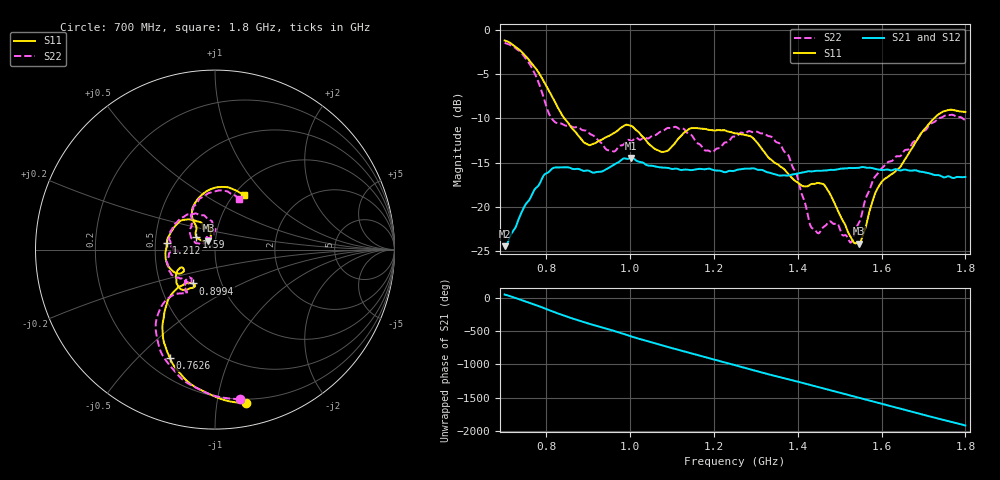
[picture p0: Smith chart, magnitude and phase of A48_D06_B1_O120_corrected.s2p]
! Created with skrf 1.9.0 (http://scikit-rf.org).
# Hz S RI R 50.0
!freq ReS11 ImS11 ReS21 ImS21 ReS12 ImS12 ReS22 ImS22
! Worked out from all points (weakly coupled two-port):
!   1601 points, 700 MHz to 1.8 GHz, reference 50 ohm
!   highest |S21| = -14.46 dB at 1.002 GHz (marker M1); lowest = -24.4 dB at 700 MHz (marker M2)
!   lowest |S11| = -24.1 dB at 1.546 GHz (marker M3), VSWR 1.13, Z = 46.3 + j4.7 ohm
!   |S11| at or under -10 dB: 843 MHz to 1.725 GHz (881.7 MHz wide, 68.7 % of centre)
!   |S22| runs from -24.0 to -1.5 dB; largest |S21 - S12| = 0.0034
!   S11 on the Smith chart (normalised r, x): 700 MHz: 0.17, -1.21; 762.6 MHz: 0.30, -0.63; 899.4 MHz: 0.73, -0.29; 1.212 GHz: 0.57, +0.04; 1.59 GHz: 0.80, +0.12; 1.8 GHz: 1.11, +0.76
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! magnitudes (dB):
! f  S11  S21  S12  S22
! 700 MHz  -1.2  -24.4  -24.2  -1.5
! 762.6 MHz  -3.7  -18.9  -18.8  -4.1
! 814.8 MHz  -7.6  -15.6  -15.7  -10.1
! 883.6 MHz  -12.4  -15.8  -15.7  -11.3
! 899.4 MHz  -13.0  -15.9  -15.9  -11.6
! 956.4 MHz  -11.8  -15.3  -15.3  -13.7
! 1.002 GHz  -10.8  -14.5  -14.6  -12.5
! 1.067 GHz  -13.6  -15.5  -15.4  -11.6
! 1.144 GHz  -11.1  -15.8  -15.8  -11.8
! 1.212 GHz  -11.3  -15.9  -15.9  -13.3
! 1.25 GHz  -11.7  -15.9  -15.8  -12.1
! 1.302 GHz  -12.7  -15.7  -15.7  -11.5
! 1.357 GHz  -15.4  -16.4  -16.4  -12.9
! 1.396 GHz  -17.1  -16.3  -16.2  -16.1
! 1.434 GHz  -17.4  -16.0  -15.9  -22.4
! 1.467 GHz  -17.7  -15.9  -15.8  -22.1
! 1.526 GHz  -23.4  -15.6  -15.6  -24.0
! 1.546 GHz  -24.1  -15.6  -15.5  -21.7
! 1.59 GHz  -17.9  -15.7  -15.7  -16.2
! 1.617 GHz  -16.5  -15.8  -15.8  -14.9
! 1.732 GHz  -9.7  -16.4  -16.4  -10.1
! 1.8 GHz  -9.3  -16.6  -16.6  -10.2
